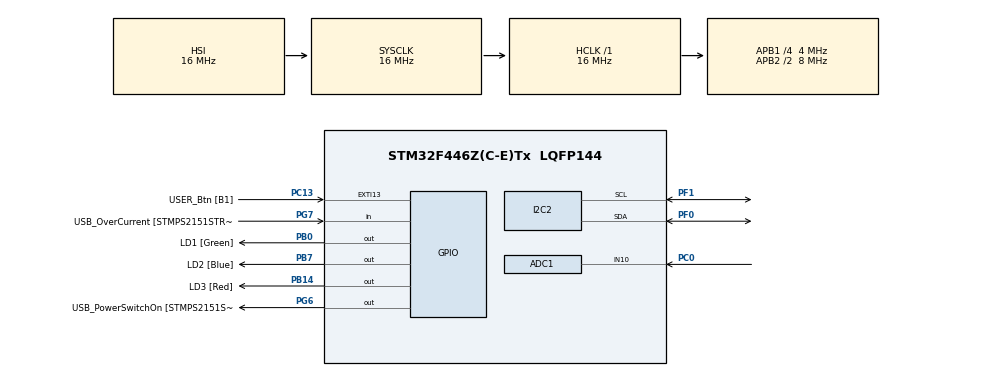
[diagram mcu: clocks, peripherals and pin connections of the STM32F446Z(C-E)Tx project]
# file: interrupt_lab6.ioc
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ADC1.Channel-0\#ChannelRegularConversion=ADC_CHANNEL_10
ADC1.NbrOfConversionFlag=1
ADC1.Rank-0\#ChannelRegularConversion=1
ADC1.SamplingTime-0\#ChannelRegularConversion=ADC_SAMPLETIME_3CYCLES
ADC1.master=1
Mcu.Family=STM32F4
Mcu.Name=STM32F446Z(C-E)Tx
Mcu.Package=LQFP144
NVIC.PriorityGroup=NVIC_PRIORITYGROUP_4
PA10.GPIO_Label=USB_ID
PA10.Signal=USB_OTG_FS_ID
PA11.GPIO_Label=USB_DM
PA11.Signal=USB_OTG_FS_DM
PA12.GPIO_Label=USB_DP
PA12.Signal=USB_OTG_FS_DP
PA13.GPIO_Label=TMS
PA13.Mode=Serial_Wire
PA13.Signal=SYS_JTMS-SWDIO
PA14.GPIO_Label=TCK
PA14.Mode=Serial_Wire
PA14.Signal=SYS_JTCK-SWCLK
PA8.GPIO_Label=USB_SOF [TP1]
PA8.Signal=USB_OTG_FS_SOF
PA9.GPIO_Label=USB_VBUS
PA9.Signal=USB_OTG_FS_VBUS
PB0.GPIO_Label=LD1 [Green]
PB0.Signal=GPIO_Output
PB14.GPIO_Label=LD3 [Red]
PB14.Signal=GPIO_Output
PB7.GPIO_Label=LD2 [Blue]
PB7.Signal=GPIO_Output
PC0.Signal=ADCx_IN10
PC13.GPIO_Label=USER_Btn [B1]
PC13.Signal=GPXTI13
PC14-OSC32_IN.Mode=LSE-External-Oscillator
PC14-OSC32_IN.Signal=RCC_OSC32_IN
PC15-OSC32_OUT.Mode=LSE-External-Oscillator
PC15-OSC32_OUT.Signal=RCC_OSC32_OUT
PD8.GPIO_Label=STLK_RX [STM32F103CBT6_PA3]
PD8.Signal=USART3_TX
PD9.GPIO_Label=STLK_TX [STM32F103CBT6_PA2]
PD9.Signal=USART3_RX
PF0.Mode=I2C
PF0.Signal=I2C2_SDA
PF1.Mode=I2C
PF1.Signal=I2C2_SCL
PG6.GPIO_Label=USB_PowerSwitchOn [STMPS2151STR_EN]
PG6.Signal=GPIO_Output
PG7.GPIO_Label=USB_OverCurrent [STMPS2151STR_FAULT]
PG7.Signal=GPIO_Input
PH0-OSC_IN.GPIO_Label=MCO [STM32F103CBT6_PA8]
PH0-OSC_IN.Mode=HSE-External-Clock-Source
PH0-OSC_IN.Signal=RCC_OSC_IN
PH1-OSC_OUT.Mode=HSE-External-Clock-Source
PH1-OSC_OUT.Signal=RCC_OSC_OUT
ProjectManager.HeapSize=0x200
ProjectManager.StackSize=0x400
ProjectManager.TargetToolchain=STM32CubeIDE
RCC.48MHZClocksFreq_Value=24000000
RCC.AHBFreq_Value=16000000
RCC.APB1CLKDivider=RCC_HCLK_DIV4
RCC.APB1Freq_Value=4000000
RCC.APB1TimFreq_Value=8000000
RCC.APB2CLKDivider=RCC_HCLK_DIV2
RCC.APB2Freq_Value=8000000
RCC.APB2TimFreq_Value=16000000
RCC.CortexFreq_Value=16000000
RCC.HCLKFreq_Value=16000000
RCC.HSE_VALUE=8000000
RCC.HSI_VALUE=16000000
RCC.PLLM=4
RCC.PLLMUL=RCC_PLL_MUL9
RCC.PLLN=72
RCC.PLLQ=3
RCC.PRESCALERUSB=RCC_USBCLKSOURCE_PLL_DIV1_5
RCC.SYSCLKFreq_VALUE=16000000
RCC.SYSCLKSourceVirtual=RCC_SYSCLKSOURCE_PLLCLK
RCC.USBFreq_Value=96000000
RCC.VCOOutputFreq_Value=288000000
SH.ADCx_IN10.0=ADC1_IN10,IN10
board=NUCLEO-F446ZE

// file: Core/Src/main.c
/* USER CODE BEGIN Header */
/**
  ******************************************************************************
  * @file           : main.c
  * @brief          : Main program body
  ******************************************************************************
  * @attention
  *
  * Copyright (c) 2026 STMicroelectronics.
  * All rights reserved.
  *
  * This software is licensed under terms that can be found in the LICENSE file
  * in the root directory of this software component.
  * If no LICENSE file comes with this software, it is provided AS-IS.
  *
  ******************************************************************************
  */
/* USER CODE END Header */
#include "main.h"

/* USER CODE BEGIN Includes */
#include "OLED.h"
#include "stdio.h"
/* USER CODE END Includes */

ADC_HandleTypeDef hadc1;
I2C_HandleTypeDef hi2c2;

void SystemClock_Config(void);
static void MX_GPIO_Init(void);
static void MX_ADC1_Init(void);
static void MX_I2C2_Init(void);

/* USER CODE BEGIN 0 */
/* 32-bit variable to store the result of the conversion */
uint32_t adc;
/* USER CODE END 0 */

int main(void)
{

  /* MCU Configuration--------------------------------------------------------*/

  /* Reset of all peripherals, Initializes the Flash interface and the Systick. */
  HAL_Init();

  /* Configure the system clock */
  SystemClock_Config();

  /* Initialize all configured peripherals */
  MX_GPIO_Init();
  MX_ADC1_Init();
  MX_I2C2_Init();
  /* USER CODE BEGIN 2 */
  OLED_Init();
  char adc_char[11];
  /* USER CODE END 2 */

  /* Infinite loop */
  while (1)
  {

    /* USER CODE BEGIN 3 */
	  /* Start the conversion with interrupt */
	  HAL_ADC_Start_IT(&hadc1);

	  /* Display management */
	  sprintf(adc_char, "%d", (uint16_t)adc);

	  OLED_Fill(Black);

	  OLED_SetCursor(2, 0);
	  OLED_WriteString("ADC value", Font_11x18, White);
	  OLED_SetCursor(2, 18);
	  OLED_WriteString(adc_char, Font_11x18, White);
	  sprintf(adc_char, "%dmV", (uint16_t)(adc * 0.806));
	  OLED_SetCursor(2, 18 + 18);
	  OLED_WriteString(adc_char, Font_11x18, White);

	  OLED_UpdateScreen();

	  HAL_Delay(200);
  }
  /* USER CODE END 3 */
}

void SystemClock_Config(void)
{
  RCC_OscInitTypeDef RCC_OscInitStruct = {0};
  RCC_ClkInitTypeDef RCC_ClkInitStruct = {0};

  /** Configure the main internal regulator output voltage
  */
  __HAL_RCC_PWR_CLK_ENABLE();
  __HAL_PWR_VOLTAGESCALING_CONFIG(PWR_REGULATOR_VOLTAGE_SCALE3);

  /** Initializes the RCC Oscillators according to the specified parameters
  * in the RCC_OscInitTypeDef structure.
  */
  RCC_OscInitStruct.OscillatorType = RCC_OSCILLATORTYPE_HSI;
  RCC_OscInitStruct.HSIState = RCC_HSI_ON;
  RCC_OscInitStruct.HSICalibrationValue = RCC_HSICALIBRATION_DEFAULT;
  RCC_OscInitStruct.PLL.PLLState = RCC_PLL_NONE;
  if (HAL_RCC_OscConfig(&RCC_OscInitStruct) != HAL_OK)
  {
    Error_Handler();
  }

  /** Initializes the CPU, AHB and APB buses clocks
  */
  RCC_ClkInitStruct.ClockType = RCC_CLOCKTYPE_HCLK|RCC_CLOCKTYPE_SYSCLK
                              |RCC_CLOCKTYPE_PCLK1|RCC_CLOCKTYPE_PCLK2;
  RCC_ClkInitStruct.SYSCLKSource = RCC_SYSCLKSOURCE_HSI;
  RCC_ClkInitStruct.AHBCLKDivider = RCC_SYSCLK_DIV1;
  RCC_ClkInitStruct.APB1CLKDivider = RCC_HCLK_DIV4;
  RCC_ClkInitStruct.APB2CLKDivider = RCC_HCLK_DIV2;

  if (HAL_RCC_ClockConfig(&RCC_ClkInitStruct, FLASH_LATENCY_0) != HAL_OK)
  {
    Error_Handler();
  }
}

static void MX_ADC1_Init(void)
{
  ADC_ChannelConfTypeDef sConfig = {0};

  hadc1.Instance = ADC1;
  hadc1.Init.ClockPrescaler = ADC_CLOCK_SYNC_PCLK_DIV2;
  hadc1.Init.Resolution = ADC_RESOLUTION_12B;
  hadc1.Init.ScanConvMode = DISABLE;
  hadc1.Init.ContinuousConvMode = DISABLE;
  hadc1.Init.DiscontinuousConvMode = DISABLE;
  hadc1.Init.ExternalTrigConvEdge = ADC_EXTERNALTRIGCONVEDGE_NONE;
  hadc1.Init.ExternalTrigConv = ADC_SOFTWARE_START;
  hadc1.Init.DataAlign = ADC_DATAALIGN_RIGHT;
  hadc1.Init.NbrOfConversion = 1;
  hadc1.Init.DMAContinuousRequests = DISABLE;
  hadc1.Init.EOCSelection = ADC_EOC_SINGLE_CONV;
  if (HAL_ADC_Init(&hadc1) != HAL_OK)
  {
    Error_Handler();
  }

  sConfig.Channel = ADC_CHANNEL_10;
  sConfig.Rank = 1;
  sConfig.SamplingTime = ADC_SAMPLETIME_3CYCLES;
  if (HAL_ADC_ConfigChannel(&hadc1, &sConfig) != HAL_OK)
  {
    Error_Handler();
  }
}

static void MX_I2C2_Init(void)
{
  hi2c2.Instance = I2C2;
  hi2c2.Init.ClockSpeed = 100000;
  hi2c2.Init.DutyCycle = I2C_DUTYCYCLE_2;
  hi2c2.Init.OwnAddress1 = 0;
  hi2c2.Init.AddressingMode = I2C_ADDRESSINGMODE_7BIT;
  hi2c2.Init.DualAddressMode = I2C_DUALADDRESS_DISABLE;
  hi2c2.Init.OwnAddress2 = 0;
  hi2c2.Init.GeneralCallMode = I2C_GENERALCALL_DISABLE;
  hi2c2.Init.NoStretchMode = I2C_NOSTRETCH_DISABLE;
  if (HAL_I2C_Init(&hi2c2) != HAL_OK)
  {
    Error_Handler();
  }
}

static void MX_GPIO_Init(void)
{
  GPIO_InitTypeDef GPIO_InitStruct = {0};

  /* GPIO Ports Clock Enable */
  __HAL_RCC_GPIOC_CLK_ENABLE();
  __HAL_RCC_GPIOF_CLK_ENABLE();
  __HAL_RCC_GPIOH_CLK_ENABLE();
  __HAL_RCC_GPIOB_CLK_ENABLE();
  __HAL_RCC_GPIOD_CLK_ENABLE();
  __HAL_RCC_GPIOG_CLK_ENABLE();
  __HAL_RCC_GPIOA_CLK_ENABLE();

  /*Configure GPIO pin Output Level */
  HAL_GPIO_WritePin(GPIOB, LD1_Pin|LD3_Pin|LD2_Pin, GPIO_PIN_RESET);

  /*Configure GPIO pin Output Level */
  HAL_GPIO_WritePin(USB_PowerSwitchOn_GPIO_Port, USB_PowerSwitchOn_Pin, GPIO_PIN_RESET);

  /*Configure GPIO pin : USER_Btn_Pin */
  GPIO_InitStruct.Pin = USER_Btn_Pin;
  GPIO_InitStruct.Mode = GPIO_MODE_IT_RISING;
  GPIO_InitStruct.Pull = GPIO_NOPULL;
  HAL_GPIO_Init(USER_Btn_GPIO_Port, &GPIO_InitStruct);

  /*Configure GPIO pins : LD1_Pin LD3_Pin LD2_Pin */
  GPIO_InitStruct.Pin = LD1_Pin|LD3_Pin|LD2_Pin;
  GPIO_InitStruct.Mode = GPIO_MODE_OUTPUT_PP;
  GPIO_InitStruct.Pull = GPIO_NOPULL;
  GPIO_InitStruct.Speed = GPIO_SPEED_FREQ_LOW;
  HAL_GPIO_Init(GPIOB, &GPIO_InitStruct);

  /*Configure GPIO pins : STLK_RX_Pin STLK_TX_Pin */
  GPIO_InitStruct.Pin = STLK_RX_Pin|STLK_TX_Pin;
  GPIO_InitStruct.Mode = GPIO_MODE_AF_PP;
  GPIO_InitStruct.Pull = GPIO_NOPULL;
  GPIO_InitStruct.Speed = GPIO_SPEED_FREQ_VERY_HIGH;
  GPIO_InitStruct.Alternate = GPIO_AF7_USART3;
  HAL_GPIO_Init(GPIOD, &GPIO_InitStruct);

  /*Configure GPIO pin : USB_PowerSwitchOn_Pin */
  GPIO_InitStruct.Pin = USB_PowerSwitchOn_Pin;
  GPIO_InitStruct.Mode = GPIO_MODE_OUTPUT_PP;
  GPIO_InitStruct.Pull = GPIO_NOPULL;
  GPIO_InitStruct.Speed = GPIO_SPEED_FREQ_LOW;
  HAL_GPIO_Init(USB_PowerSwitchOn_GPIO_Port, &GPIO_InitStruct);

  /*Configure GPIO pin : USB_OverCurrent_Pin */
  GPIO_InitStruct.Pin = USB_OverCurrent_Pin;
  GPIO_InitStruct.Mode = GPIO_MODE_INPUT;
  GPIO_InitStruct.Pull = GPIO_NOPULL;
  HAL_GPIO_Init(USB_OverCurrent_GPIO_Port, &GPIO_InitStruct);

  /*Configure GPIO pins : USB_SOF_Pin USB_ID_Pin USB_DM_Pin USB_DP_Pin */
  GPIO_InitStruct.Pin = USB_SOF_Pin|USB_ID_Pin|USB_DM_Pin|USB_DP_Pin;
  GPIO_InitStruct.Mode = GPIO_MODE_AF_PP;
  GPIO_InitStruct.Pull = GPIO_NOPULL;
  GPIO_InitStruct.Speed = GPIO_SPEED_FREQ_VERY_HIGH;
  GPIO_InitStruct.Alternate = GPIO_AF10_OTG_FS;
  HAL_GPIO_Init(GPIOA, &GPIO_InitStruct);

  /*Configure GPIO pin : USB_VBUS_Pin */
  GPIO_InitStruct.Pin = USB_VBUS_Pin;
  GPIO_InitStruct.Mode = GPIO_MODE_INPUT;
  GPIO_InitStruct.Pull = GPIO_NOPULL;
  HAL_GPIO_Init(USB_VBUS_GPIO_Port, &GPIO_InitStruct);
}

/* USER CODE BEGIN 4 */
void HAL_ADC_ConvCpltCallback(ADC_HandleTypeDef* hadc)
{
	if (hadc->Instance == ADC1)
	{
		/* Read the result of the conversion */
		adc = HAL_ADC_GetValue(hadc);
	}
}
/* USER CODE END 4 */

void Error_Handler(void)
{
  __disable_irq();
  while (1)
  {
  }
}
